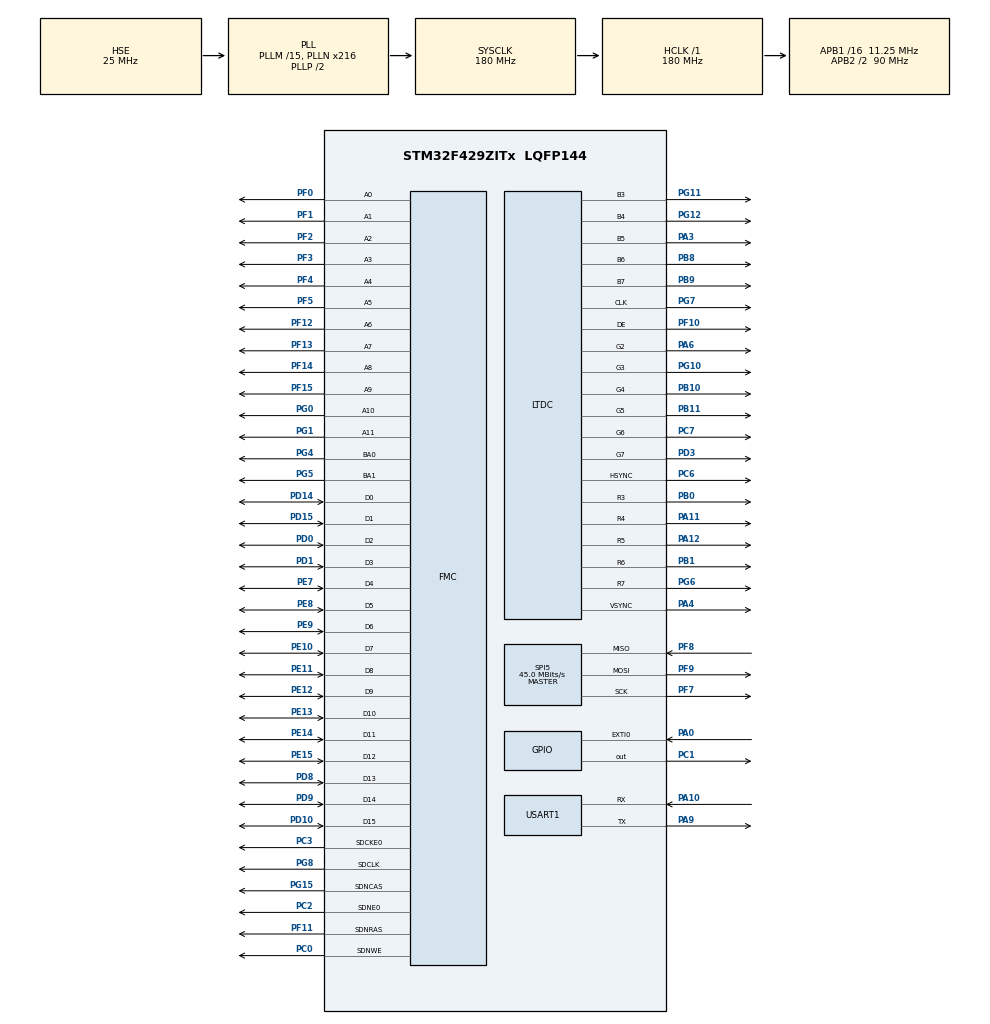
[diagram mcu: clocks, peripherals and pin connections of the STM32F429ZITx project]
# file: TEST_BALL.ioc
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Mcu.Family=STM32F4
PC3.Mode=SdramChipSelect1_1
SH.FMC_D7_DA7.0=FMC_D7,sd-16b-d1
PA6.Mode=RGB565
SH.FMC_A8.0=FMC_A8,12b-sda1
RCC.CortexFreq_Value=180000000
PG6.Signal=LTDC_R7
SH.FMC_A0.0=FMC_A0,12b-sda1
PB10.Mode=RGB565
SH.FMC_D14_DA14.0=FMC_D14,sd-16b-d1
NVIC.TIM6_DAC_IRQn=true\:0\:0\:false\:false\:true\:true\:true
PG4.Signal=FMC_A14_BA0
PG8.Signal=FMC_SDCLK
PG0.Signal=FMC_A10
SH.FMC_D6_DA6.0=FMC_D6,sd-16b-d1
PA11.Mode=RGB565
PA0/WKUP.Signal=GPXTI0
SH.FMC_A14_BA0.0=FMC_BA0,FourSdramBanks1
SH.FMC_A11.0=FMC_A11,12b-sda1
SH.FMC_D5_DA5.0=FMC_D5,sd-16b-d1
PB11.Signal=LTDC_G5
PG6.Mode=RGB565
PG11.Signal=LTDC_B3
PG15.Signal=FMC_SDNCAS
RCC.SYSCLKSource=RCC_SYSCLKSOURCE_PLLCLK
ProjectManager.StackSize=0x4000
SH.FMC_A15_BA1.0=FMC_BA1,FourSdramBanks1
SH.FMC_D9_DA9.0=FMC_D9,sd-16b-d1
SH.FMC_A7.0=FMC_A7,12b-sda1
PA12.Signal=LTDC_R5
PA4.Mode=RGB565
PF7.Signal=SPI5_SCK
SH.FMC_SDNWE.0=FMC_SDNWE,12b-sda1
SH.FMC_D11_DA11.0=FMC_D11,sd-16b-d1
PH0/OSC_IN.Mode=HSE-External-Oscillator
RCC.HCLKFreq_Value=180000000
RCC.APB2TimFreq_Value=180000000
PC7.Signal=LTDC_G6
PH1/OSC_OUT.Signal=RCC_OSC_OUT
PF12.Signal=FMC_A6
PC3.Signal=FMC_SDCKE0
PD0.Signal=FMC_D2_DA2
PD8.Signal=FMC_D13_DA13
SH.FMC_A10.0=FMC_A10,12b-sda1
RCC.AHBFreq_Value=180000000
RCC.HSE_VALUE=25000000
SH.FMC_D8_DA8.0=FMC_D8,sd-16b-d1
SH.FMC_D2_DA2.0=FMC_D2,sd-16b-d1
PF9.Mode=Full_Duplex_Master
PE13.Signal=FMC_D10_DA10
PE9.Signal=FMC_D6_DA6
PA14.Mode=Serial_Wire
SH.FMC_A2.0=FMC_A2,12b-sda1
VP_SYS_VS_tim1.Mode=TIM1
PF11.Signal=FMC_SDNRAS
PF8.Mode=Full_Duplex_Master
SH.FMC_D1_DA1.0=FMC_D1,sd-16b-d1
TIM6.Period=1
PF3.Signal=FMC_A3
SH.FMC_SDNRAS.0=FMC_SDNRAS,12b-sda1
PD3.Mode=RGB565
PH1/OSC_OUT.Mode=HSE-External-Oscillator
PE10.Signal=FMC_D7_DA7
Mcu.Package=LQFP144
PB9.Signal=LTDC_B7
SPI5.BaudRatePrescaler=SPI_BAUDRATEPRESCALER_2
PB1.Signal=LTDC_R6
PA6.Signal=LTDC_G2
NVIC.TimeBase=TIM1_UP_TIM10_IRQn
SH.FMC_D0_DA0.0=FMC_D0,sd-16b-d1
NVIC.TimeBaseIP=TIM1
PA10.Signal=USART1_RX
SH.FMC_A9.0=FMC_A9,12b-sda1
PF8.Signal=SPI5_MISO
SH.FMC_D4_DA4.0=FMC_D4,sd-16b-d1
RCC.PLLSAIN=60
PF5.Signal=FMC_A5
SH.FMC_A1.0=FMC_A1,12b-sda1
SPI5.CalculateBaudRate=45.0 MBits/s
RCC.APB2CLKDivider=RCC_HCLK_DIV2
SH.FMC_SDCLK.0=FMC_SDCLK,12b-sda1
PF14.Signal=FMC_A8
RCC.APB1TimFreq_Value=22500000
VP_DMA2D_VS_DMA2D.Mode=DMA2D_Activate
PF10.Mode=RGB565
PF0.Signal=FMC_A0
PE7.Signal=FMC_D4_DA4
PD15.Signal=FMC_D1_DA1
SH.FMC_D3_DA3.0=FMC_D3,sd-16b-d1
SPI5.VirtualType=VM_MASTER
PA3.Signal=LTDC_B5
PG12.Signal=LTDC_B4
RCC.PLLSourceVirtual=RCC_PLLSOURCE_HSE
SH.FMC_A4.0=FMC_A4,12b-sda1
PG7.Signal=LTDC_CLK
PA10.Mode=Asynchronous
PG1.Signal=FMC_A11
PG5.Signal=FMC_A15_BA1
SH.FMC_D10_DA10.0=FMC_D10,sd-16b-d1
PD3.Signal=LTDC_G7
TIM6.Prescaler=224
PC2.Signal=FMC_SDNE0
PC6.Signal=LTDC_HSYNC
PG10.Mode=RGB565
VP_TIM6_VS_ClockSourceINT.Mode=Enable_Timer
PD1.Signal=FMC_D3_DA3
PC2.Mode=SdramChipSelect1_1
PD9.Signal=FMC_D14_DA14
PC0.Signal=FMC_SDNWE
RCC.APB1CLKDivider=RCC_HCLK_DIV16
SPI5.Mode=SPI_MODE_MASTER
PG10.Signal=LTDC_G3
PD10.Signal=FMC_D15_DA15
PA3.Mode=RGB565
PA13.Signal=SYS_JTMS-SWDIO
PF7.Mode=Full_Duplex_Master
SH.FMC_A3.0=FMC_A3,12b-sda1
PA9.Mode=Asynchronous
PB11.Mode=RGB565
ProjectManager.TargetToolchain=STM32CubeIDE
SH.FMC_D15_DA15.0=FMC_D15,sd-16b-d1
SH.FMC_D13_DA13.0=FMC_D13,sd-16b-d1
PC6.Mode=RGB565
PB9.Mode=RGB565
PA9.Signal=USART1_TX
PF2.Signal=FMC_A2
PE11.Signal=FMC_D8_DA8
PG7.Mode=RGB565
RCC.LSE_VALUE=32768
PB10.Signal=LTDC_G4
PB0.Mode=RGB565
board=custom
PG12.Mode=RGB565
RCC.VCOOutputFreq_Value=360000000
PH0/OSC_IN.Signal=RCC_OSC_IN
SH.FMC_A6.0=FMC_A6,12b-sda1
RCC.APB2Freq_Value=90000000
PE14.Signal=FMC_D11_DA11
PE15.Signal=FMC_D12_DA12
PE8.Signal=FMC_D5_DA5
PF10.Signal=LTDC_DE
TIM6.TIM_MasterOutputTrigger=TIM_TRGO_UPDATE
SH.FMC_D12_DA12.0=FMC_D12,sd-16b-d1
PF15.Signal=FMC_A9
PF13.Signal=FMC_A7
PF1.Signal=FMC_A1
PA0/WKUP.GPIO_PuPd=GPIO_PULLDOWN
PA13.Mode=Serial_Wire
SH.FMC_SDNCAS.0=FMC_SDNCAS,12b-sda1
Mcu.Name=STM32F429ZITx
PE12.Signal=FMC_D9_DA9
PD14.Signal=FMC_D0_DA0
RCC.48MHZClocksFreq_Value=90000000
NVIC.EXTI0_IRQn=true\:0\:0\:false\:false\:true\:true\:true
PA4.Signal=LTDC_VSYNC
RCC.SYSCLKFreq_VALUE=180000000
PA12.Mode=RGB565
USART1.VirtualMode=VM_ASYNC
SH.FMC_A5.0=FMC_A5,12b-sda1
PG11.Mode=RGB565
PA11.Signal=LTDC_R4
PA14.Signal=SYS_JTCK-SWCLK
ProjectManager.HeapSize=0x2000
PB1.Mode=RGB565
NVIC.TIM1_UP_TIM10_IRQn=true\:0\:0\:false\:false\:true\:false\:true
PF9.Signal=SPI5_MOSI
RCC.HSI_VALUE=16000000
NVIC.PriorityGroup=NVIC_PRIORITYGROUP_4
RCC.PLLM=15
PB8.Mode=RGB565
RCC.PLLN=216
PB8.Signal=LTDC_B6
PF4.Signal=FMC_A4
PC7.Mode=RGB565
RCC.APB1Freq_Value=11250000
PB0.Signal=LTDC_R3
PC1.Signal=GPIO_Output
SPI5.Direction=SPI_DIRECTION_2LINES

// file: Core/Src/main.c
/* USER CODE BEGIN Header */
/**
  ******************************************************************************
  * @file           : main.c
  * @brief          : Main program body
  ******************************************************************************
  * @attention
  *
  * <h2><center>&copy; Copyright (c) 2021 STMicroelectronics.
  * All rights reserved.</center></h2>
  *
  * This software component is licensed by ST under BSD 3-Clause license,
  * the "License"; You may not use this file except in compliance with the
  * License. You may obtain a copy of the License at:
  *                        opensource.org/licenses/BSD-3-Clause
  *
  ******************************************************************************
  */
/* USER CODE END Header */
#include "main.h"

/* USER CODE BEGIN Includes */
#include <stdlib.h>
#include "stm32f429i_discovery.h"
#include "stm32f429i_discovery_lcd.h"
#include "stm32f429i_discovery_gyroscope.h"
#include "ball.h"

/* USER CODE END Includes */

/* USER CODE BEGIN PD */
#define TIM6_EVENTS_PER_SEC 50000
/* USER CODE END PD */

DMA2D_HandleTypeDef hdma2d;

LTDC_HandleTypeDef hltdc;

SPI_HandleTypeDef hspi5;

TIM_HandleTypeDef htim6;

UART_HandleTypeDef huart1;

SDRAM_HandleTypeDef hsdram1;

/* USER CODE BEGIN PV */

float xError_average = 0.0;
float yError_average = 0.0;
int   fps = 0;
char  Buf[15];

extern float    Axes_Data[3];
extern int      xSum_vel;
extern int      ySum_vel;
extern uint32_t tim6_cnt;
extern uint8_t  PB_state;
extern uint8_t  cleaned;

/* USER CODE END PV */

void SystemClock_Config(void);
static void MX_GPIO_Init(void);
static void MX_DMA2D_Init(void);
static void MX_FMC_Init(void);
static void MX_LTDC_Init(void);
static void MX_USART1_UART_Init(void);
static void MX_SPI5_Init(void);
static void MX_TIM6_Init(void);

/* USER CODE BEGIN 0 */
struct Ball Test;
struct Ball White;

void BSP_Init_All(void)
{
	BSP_LCD_Init();
	BSP_LCD_LayerDefaultInit(1, LCD_FRAME_BUFFER);
	BSP_LCD_LayerDefaultInit(0, LCD_FRAME_BUFFER + BUFFER_OFFSET);
	BSP_GYRO_Init();

	 for (int layer_idx = 0; layer_idx < 2; layer_idx++)
	 {
		 BSP_LCD_SelectLayer(layer_idx);
		 BSP_LCD_SetFont(&Font16);
		 BSP_LCD_SetBackColor(LCD_COLOR_WHITE);
		 BSP_LCD_Clear(LCD_COLOR_WHITE);
	  }
}

void Construct_Ball(void)
{
	Init_Ball(&White, ILI9341_LCD_PIXEL_WIDTH/2, ILI9341_LCD_PIXEL_HEIGHT/2, LCD_COLOR_WHITE, NULL);
	Init_Ball(&Test, ILI9341_LCD_PIXEL_WIDTH/2, ILI9341_LCD_PIXEL_HEIGHT/2, LCD_COLOR_BLACK, &White);
	Draw_Ball(&Test);
}

/*
 * Calibration gyroscope by moving average method
 * average errors
 * (xError_average, yError_average)
 * used in gyroscope data processing
 */
void Gyro_Calibration(void)
{
	snprintf(Buf, sizeof(Buf), "Calibration...");
	BSP_LCD_DisplayStringAt(ILI9341_LCD_PIXEL_WIDTH/2-75,ILI9341_LCD_PIXEL_HEIGHT/2-15,(uint8_t *)Buf,LEFT_MODE);

	long double xSum = 0.0, ySum = 0.0;
	for (int i = 0; i < 10000; i++)
	{
		BSP_GYRO_GetXYZ(Axes_Data);
		xSum += Axes_Data[1];
		ySum += Axes_Data[0];
		BSP_LCD_FillRect(ILI9341_LCD_PIXEL_WIDTH/2-75,ILI9341_LCD_PIXEL_HEIGHT/2,(uint16_t)(i/65),10);

	}
	xError_average = xSum/10000;
	yError_average = ySum/10000;
	BSP_LCD_Clear(LCD_COLOR_WHITE);
}

void Show_FPS(void)
{
	if(tim6_cnt)
		{

			BSP_LCD_SetTextColor(LCD_COLOR_WHITE);
			BSP_LCD_FillRect(100,20,10,16);
			BSP_LCD_SetTextColor(LCD_COLOR_BLACK);
			fps = TIM6_EVENTS_PER_SEC/tim6_cnt;
			snprintf(Buf, sizeof(Buf), "FPS: %d", (int)fps);
			BSP_LCD_DisplayStringAt(0,20,(uint8_t *)Buf,LEFT_MODE);
		}
}

void Hide_All(void)
{
	if(!cleaned)
	{
		BSP_LCD_SetTextColor(LCD_COLOR_WHITE);
		BSP_LCD_FillRect(0,20,100,40);
		cleaned = 1;
	}
}

/* USER CODE END 0 */

int main(void)
{

  /* MCU Configuration--------------------------------------------------------*/

  /* Reset of all peripherals, Initializes the Flash interface and the Systick. */
  HAL_Init();

  /* Configure the system clock */
  SystemClock_Config();

  /* Initialize all configured peripherals */
  MX_GPIO_Init();
  MX_DMA2D_Init();
  MX_FMC_Init();
  MX_LTDC_Init();
  MX_USART1_UART_Init();
  MX_SPI5_Init();
  MX_TIM6_Init();
  /* USER CODE BEGIN 2 */
  BSP_Init_All();
  Gyro_Calibration();
  Construct_Ball();
  /* USER CODE END 2 */

  /* Infinite loop */
  /* USER CODE BEGIN WHILE */
  while (1)
  {
	Update_Ball(&Test);
	switch(PB_state)
	{
	case 1:  Show_FPS(); break;
	default: Hide_All(); break;
	}

	tim6_cnt = 0;
    /* USER CODE END WHILE */

  }
}

void SystemClock_Config(void)
{
  RCC_OscInitTypeDef RCC_OscInitStruct = {0};
  RCC_ClkInitTypeDef RCC_ClkInitStruct = {0};
  RCC_PeriphCLKInitTypeDef PeriphClkInitStruct = {0};

  /** Configure the main internal regulator output voltage
  */
  __HAL_RCC_PWR_CLK_ENABLE();
  __HAL_PWR_VOLTAGESCALING_CONFIG(PWR_REGULATOR_VOLTAGE_SCALE1);
  /** Initializes the RCC Oscillators according to the specified parameters
  * in the RCC_OscInitTypeDef structure.
  */
  RCC_OscInitStruct.OscillatorType = RCC_OSCILLATORTYPE_HSE;
  RCC_OscInitStruct.HSEState = RCC_HSE_ON;
  RCC_OscInitStruct.PLL.PLLState = RCC_PLL_ON;
  RCC_OscInitStruct.PLL.PLLSource = RCC_PLLSOURCE_HSE;
  RCC_OscInitStruct.PLL.PLLM = 15;
  RCC_OscInitStruct.PLL.PLLN = 216;
  RCC_OscInitStruct.PLL.PLLP = RCC_PLLP_DIV2;
  RCC_OscInitStruct.PLL.PLLQ = 4;
  if (HAL_RCC_OscConfig(&RCC_OscInitStruct) != HAL_OK)
  {
    Error_Handler();
  }
  /** Activate the Over-Drive mode
  */
  if (HAL_PWREx_EnableOverDrive() != HAL_OK)
  {
    Error_Handler();
  }
  /** Initializes the CPU, AHB and APB buses clocks
  */
  RCC_ClkInitStruct.ClockType = RCC_CLOCKTYPE_HCLK|RCC_CLOCKTYPE_SYSCLK
                              |RCC_CLOCKTYPE_PCLK1|RCC_CLOCKTYPE_PCLK2;
  RCC_ClkInitStruct.SYSCLKSource = RCC_SYSCLKSOURCE_PLLCLK;
  RCC_ClkInitStruct.AHBCLKDivider = RCC_SYSCLK_DIV1;
  RCC_ClkInitStruct.APB1CLKDivider = RCC_HCLK_DIV16;
  RCC_ClkInitStruct.APB2CLKDivider = RCC_HCLK_DIV2;

  if (HAL_RCC_ClockConfig(&RCC_ClkInitStruct, FLASH_LATENCY_5) != HAL_OK)
  {
    Error_Handler();
  }
  PeriphClkInitStruct.PeriphClockSelection = RCC_PERIPHCLK_LTDC;
  PeriphClkInitStruct.PLLSAI.PLLSAIN = 60;
  PeriphClkInitStruct.PLLSAI.PLLSAIR = 2;
  PeriphClkInitStruct.PLLSAIDivR = RCC_PLLSAIDIVR_2;
  if (HAL_RCCEx_PeriphCLKConfig(&PeriphClkInitStruct) != HAL_OK)
  {
    Error_Handler();
  }
}

static void MX_DMA2D_Init(void)
{

  hdma2d.Instance = DMA2D;
  hdma2d.Init.Mode = DMA2D_M2M;
  hdma2d.Init.ColorMode = DMA2D_OUTPUT_ARGB8888;
  hdma2d.Init.OutputOffset = 0;
  hdma2d.LayerCfg[1].InputOffset = 0;
  hdma2d.LayerCfg[1].InputColorMode = DMA2D_INPUT_ARGB8888;
  hdma2d.LayerCfg[1].AlphaMode = DMA2D_NO_MODIF_ALPHA;
  hdma2d.LayerCfg[1].InputAlpha = 0;
  if (HAL_DMA2D_Init(&hdma2d) != HAL_OK)
  {
    Error_Handler();
  }
  if (HAL_DMA2D_ConfigLayer(&hdma2d, 1) != HAL_OK)
  {
    Error_Handler();
  }

}

static void MX_LTDC_Init(void)
{

  LTDC_LayerCfgTypeDef pLayerCfg = {0};
  LTDC_LayerCfgTypeDef pLayerCfg1 = {0};

  hltdc.Instance = LTDC;
  hltdc.Init.HSPolarity = LTDC_HSPOLARITY_AL;
  hltdc.Init.VSPolarity = LTDC_VSPOLARITY_AL;
  hltdc.Init.DEPolarity = LTDC_DEPOLARITY_AL;
  hltdc.Init.PCPolarity = LTDC_PCPOLARITY_IPC;
  hltdc.Init.HorizontalSync = 7;
  hltdc.Init.VerticalSync = 3;
  hltdc.Init.AccumulatedHBP = 14;
  hltdc.Init.AccumulatedVBP = 5;
  hltdc.Init.AccumulatedActiveW = 654;
  hltdc.Init.AccumulatedActiveH = 485;
  hltdc.Init.TotalWidth = 660;
  hltdc.Init.TotalHeigh = 487;
  hltdc.Init.Backcolor.Blue = 0;
  hltdc.Init.Backcolor.Green = 0;
  hltdc.Init.Backcolor.Red = 0;
  if (HAL_LTDC_Init(&hltdc) != HAL_OK)
  {
    Error_Handler();
  }
  pLayerCfg.WindowX0 = 0;
  pLayerCfg.WindowX1 = 0;
  pLayerCfg.WindowY0 = 0;
  pLayerCfg.WindowY1 = 0;
  pLayerCfg.PixelFormat = LTDC_PIXEL_FORMAT_ARGB8888;
  pLayerCfg.Alpha = 0;
  pLayerCfg.Alpha0 = 0;
  pLayerCfg.BlendingFactor1 = LTDC_BLENDING_FACTOR1_CA;
  pLayerCfg.BlendingFactor2 = LTDC_BLENDING_FACTOR2_CA;
  pLayerCfg.FBStartAdress = 0;
  pLayerCfg.ImageWidth = 0;
  pLayerCfg.ImageHeight = 0;
  pLayerCfg.Backcolor.Blue = 0;
  pLayerCfg.Backcolor.Green = 0;
  pLayerCfg.Backcolor.Red = 0;
  if (HAL_LTDC_ConfigLayer(&hltdc, &pLayerCfg, 0) != HAL_OK)
  {
    Error_Handler();
  }
  pLayerCfg1.WindowX0 = 0;
  pLayerCfg1.WindowX1 = 0;
  pLayerCfg1.WindowY0 = 0;
  pLayerCfg1.WindowY1 = 0;
  pLayerCfg1.PixelFormat = LTDC_PIXEL_FORMAT_ARGB8888;
  pLayerCfg1.Alpha = 0;
  pLayerCfg1.Alpha0 = 0;
  pLayerCfg1.BlendingFactor1 = LTDC_BLENDING_FACTOR1_CA;
  pLayerCfg1.BlendingFactor2 = LTDC_BLENDING_FACTOR2_CA;
  pLayerCfg1.FBStartAdress = 0;
  pLayerCfg1.ImageWidth = 0;
  pLayerCfg1.ImageHeight = 0;
  pLayerCfg1.Backcolor.Blue = 0;
  pLayerCfg1.Backcolor.Green = 0;
  pLayerCfg1.Backcolor.Red = 0;
  if (HAL_LTDC_ConfigLayer(&hltdc, &pLayerCfg1, 1) != HAL_OK)
  {
    Error_Handler();
  }

}

static void MX_SPI5_Init(void)
{

  /* SPI5 parameter configuration*/
  hspi5.Instance = SPI5;
  hspi5.Init.Mode = SPI_MODE_MASTER;
  hspi5.Init.Direction = SPI_DIRECTION_2LINES;
  hspi5.Init.DataSize = SPI_DATASIZE_8BIT;
  hspi5.Init.CLKPolarity = SPI_POLARITY_LOW;
  hspi5.Init.CLKPhase = SPI_PHASE_1EDGE;
  hspi5.Init.NSS = SPI_NSS_SOFT;
  hspi5.Init.BaudRatePrescaler = SPI_BAUDRATEPRESCALER_2;
  hspi5.Init.FirstBit = SPI_FIRSTBIT_MSB;
  hspi5.Init.TIMode = SPI_TIMODE_DISABLE;
  hspi5.Init.CRCCalculation = SPI_CRCCALCULATION_DISABLE;
  hspi5.Init.CRCPolynomial = 10;
  if (HAL_SPI_Init(&hspi5) != HAL_OK)
  {
    Error_Handler();
  }

}

static void MX_TIM6_Init(void)
{

  TIM_MasterConfigTypeDef sMasterConfig = {0};

  htim6.Instance = TIM6;
  htim6.Init.Prescaler = 224;
  htim6.Init.CounterMode = TIM_COUNTERMODE_UP;
  htim6.Init.Period = 1;
  htim6.Init.AutoReloadPreload = TIM_AUTORELOAD_PRELOAD_DISABLE;
  if (HAL_TIM_Base_Init(&htim6) != HAL_OK)
  {
    Error_Handler();
  }
  sMasterConfig.MasterOutputTrigger = TIM_TRGO_UPDATE;
  sMasterConfig.MasterSlaveMode = TIM_MASTERSLAVEMODE_DISABLE;
  if (HAL_TIMEx_MasterConfigSynchronization(&htim6, &sMasterConfig) != HAL_OK)
  {
    Error_Handler();
  }

}

static void MX_USART1_UART_Init(void)
{

  huart1.Instance = USART1;
  huart1.Init.BaudRate = 115200;
  huart1.Init.WordLength = UART_WORDLENGTH_8B;
  huart1.Init.StopBits = UART_STOPBITS_1;
  huart1.Init.Parity = UART_PARITY_NONE;
  huart1.Init.Mode = UART_MODE_TX_RX;
  huart1.Init.HwFlowCtl = UART_HWCONTROL_NONE;
  huart1.Init.OverSampling = UART_OVERSAMPLING_16;
  if (HAL_UART_Init(&huart1) != HAL_OK)
  {
    Error_Handler();
  }

}

/* FMC initialization function */
static void MX_FMC_Init(void)
{

  FMC_SDRAM_TimingTypeDef SdramTiming = {0};

  /** Perform the SDRAM1 memory initialization sequence
  */
  hsdram1.Instance = FMC_SDRAM_DEVICE;
  /* hsdram1.Init */
  hsdram1.Init.SDBank = FMC_SDRAM_BANK1;
  hsdram1.Init.ColumnBitsNumber = FMC_SDRAM_COLUMN_BITS_NUM_8;
  hsdram1.Init.RowBitsNumber = FMC_SDRAM_ROW_BITS_NUM_12;
  hsdram1.Init.MemoryDataWidth = FMC_SDRAM_MEM_BUS_WIDTH_16;
  hsdram1.Init.InternalBankNumber = FMC_SDRAM_INTERN_BANKS_NUM_4;
  hsdram1.Init.CASLatency = FMC_SDRAM_CAS_LATENCY_1;
  hsdram1.Init.WriteProtection = FMC_SDRAM_WRITE_PROTECTION_DISABLE;
  hsdram1.Init.SDClockPeriod = FMC_SDRAM_CLOCK_DISABLE;
  hsdram1.Init.ReadBurst = FMC_SDRAM_RBURST_DISABLE;
  hsdram1.Init.ReadPipeDelay = FMC_SDRAM_RPIPE_DELAY_0;
  /* SdramTiming */
  SdramTiming.LoadToActiveDelay = 16;
  SdramTiming.ExitSelfRefreshDelay = 16;
  SdramTiming.SelfRefreshTime = 16;
  SdramTiming.RowCycleDelay = 16;
  SdramTiming.WriteRecoveryTime = 16;
  SdramTiming.RPDelay = 16;
  SdramTiming.RCDDelay = 16;

  if (HAL_SDRAM_Init(&hsdram1, &SdramTiming) != HAL_OK)
  {
    Error_Handler( );
  }

}

static void MX_GPIO_Init(void)
{
  GPIO_InitTypeDef GPIO_InitStruct = {0};

  /* GPIO Ports Clock Enable */
  __HAL_RCC_GPIOF_CLK_ENABLE();
  __HAL_RCC_GPIOH_CLK_ENABLE();
  __HAL_RCC_GPIOC_CLK_ENABLE();
  __HAL_RCC_GPIOA_CLK_ENABLE();
  __HAL_RCC_GPIOB_CLK_ENABLE();
  __HAL_RCC_GPIOG_CLK_ENABLE();
  __HAL_RCC_GPIOE_CLK_ENABLE();
  __HAL_RCC_GPIOD_CLK_ENABLE();

  /*Configure GPIO pin Output Level */
  HAL_GPIO_WritePin(GPIOC, GPIO_PIN_1, GPIO_PIN_RESET);

  /*Configure GPIO pin : PC1 */
  GPIO_InitStruct.Pin = GPIO_PIN_1;
  GPIO_InitStruct.Mode = GPIO_MODE_OUTPUT_PP;
  GPIO_InitStruct.Pull = GPIO_NOPULL;
  GPIO_InitStruct.Speed = GPIO_SPEED_FREQ_LOW;
  HAL_GPIO_Init(GPIOC, &GPIO_InitStruct);

  /*Configure GPIO pin : PA0 */
  GPIO_InitStruct.Pin = GPIO_PIN_0;
  GPIO_InitStruct.Mode = GPIO_MODE_IT_RISING;
  GPIO_InitStruct.Pull = GPIO_PULLDOWN;
  HAL_GPIO_Init(GPIOA, &GPIO_InitStruct);

  /* EXTI interrupt init*/
  HAL_NVIC_SetPriority(EXTI0_IRQn, 0, 0);
  HAL_NVIC_EnableIRQ(EXTI0_IRQn);

}

 /**
  * @brief  Period elapsed callback in non blocking mode
  * @note   This function is called  when TIM1 interrupt took place, inside
  * HAL_TIM_IRQHandler(). It makes a direct call to HAL_IncTick() to increment
  * a global variable "uwTick" used as application time base.
  * @param  htim : TIM handle
  * @retval None
  */
void HAL_TIM_PeriodElapsedCallback(TIM_HandleTypeDef *htim)
{
  if (htim->Instance == TIM1) {
    HAL_IncTick();
  }
}

void Error_Handler(void)
{
  __disable_irq();
  while (1)
  {
  }
}

/************************ (C) COPYRIGHT STMicroelectronics *****END OF FILE****/
